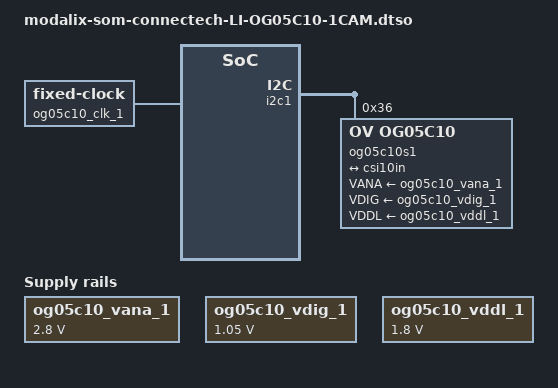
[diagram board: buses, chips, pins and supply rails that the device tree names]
// SPDX-License-Identifier: (GPL-2.0+ OR MIT)
/*
 * Copyright (c) 2026 SiMa ai
 */

/dts-v1/;
/plugin/;

#include "modalix-som-connectech-1CAM.dtsi"

&{/} {
    og05c10_vana_1: csi1_fixedregulator@0 {
        compatible = "regulator-fixed";
        regulator-name = "og05c10_vana_1";
        regulator-min-microvolt = <2800000>;
        regulator-max-microvolt = <2800000>;
        enable-active-high;
        startup-delay-us = <300000>;
        regulator-always-on;
    };

    og05c10_vdig_1: csi1_fixedregulator@1 {
        compatible = "regulator-fixed";
        regulator-name = "og05c10_vdig_1";
        regulator-min-microvolt = <1050000>;
        regulator-max-microvolt = <1050000>;
        regulator-always-on;
    };

    og05c10_vddl_1: csi1_fixedregulator@2 {
        compatible = "regulator-fixed";
        regulator-name = "og05c10_vddl_1";
        regulator-min-microvolt = <1800000>;
        regulator-max-microvolt = <1800000>;
        regulator-always-on;
    };

    og05c10_clk_1: csi1_camera-clk {
        compatible = "fixed-clock";
        #clock-cells = <0>;
        clock-frequency = <24000000>;
    };
};

&csi10in {
    clock-lanes = <0>;
    data-lanes = <1 2>;
    link-frequencies = /bits/ 64 <424000000>;
    remote-endpoint = <&cam10out>;
    clock-continuous;
};

&i2c1 {
        og05c10s1: og05c10@36 {
                compatible = "OV,og05c10";
                reg = <0x36>;

                clocks = <&og05c10_clk_1>;
                clock-names = "xclk";

                VANA-supply = <&og05c10_vana_1>;
                VDIG-supply = <&og05c10_vdig_1>;
                VDDL-supply = <&og05c10_vddl_1>;

                port@1 {
                        cam10out: endpoint@0 {
                                clock-lanes = <0>;
                                data-lanes = <1 2>;
                                link-frequencies = /bits/ 64 <424000000>;
                                remote-endpoint = <&csi10in>;
                                clock-continuous;
                        };
                };
        };
};
